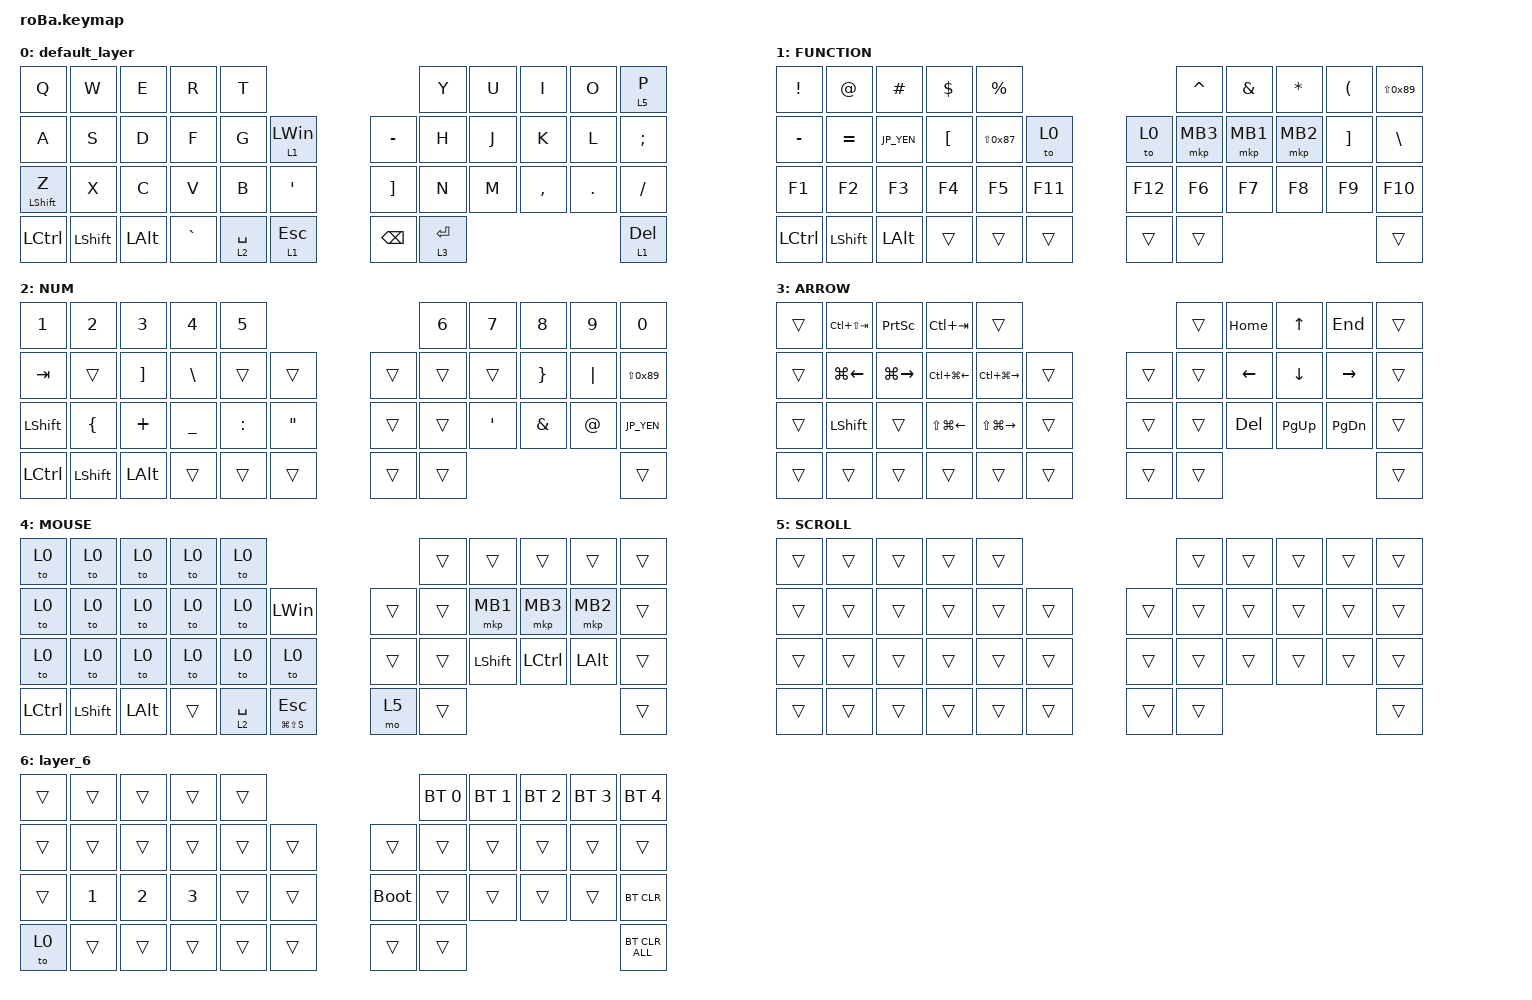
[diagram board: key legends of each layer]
#include <behaviors.dtsi>
#include <dt-bindings/zmk/bt.h>
#include <dt-bindings/zmk/keys.h>
#include <dt-bindings/zmk/pointing.h>

// OS設定を日本語キーボードのまま使用するための変換定義

#define JP_DQUOTE       AT                // "
#define JP_AMPERSAND    CARET             // &
#define JP_QUOTE        AMPERSAND         // '
#define JP_MINUS        MINUS             // -
#define JP_EQUAL        UNDER             // =
#define JP_CARET        EQUAL             // ^
#define JP_YEN          0x89              // ¥
#define JP_PLUS         COLON             // +
#define JP_TILDE        PLUS              // ~
#define JP_PIPE         LS(0x89)          // |
#define JP_AT           LEFT_BRACKET      // @
#define JP_COLON        SINGLE_QUOTE      // :
#define JP_ASTERISK     DOUBLE_QUOTES     // *
#define JP_BACKQUOTE    LEFT_BRACE        // `
#define JP_UNDERSCORE   LS(0x87)          // _
#define JP_LBRACKET     RIGHT_BRACKET     // [
#define JP_RBRACKET     BACKSLASH         // ]
#define JP_LPAREN       ASTERISK          // (
#define JP_RPAREN       LEFT_PARENTHESIS  // )
#define JP_LBRACE       RIGHT_BRACE       // {
#define JP_RBRACE       PIPE              // }
#define JP_HASH         HASH              // #
#define JP_DOLLAR       DOLLAR            // $
#define JP_PERCENT      PERCENT           // %
#define JP_SEMICOLON    SEMICOLON         // ;
#define JP_COMMA        COMMA             // ,
#define JP_DOT          PERIOD            // .
#define JP_SLASH        SLASH             // /
#define JP_ZENHAN       GRAVE             // 全角/半角
#define JP_KANA         LANGUAGE_1        // かな
#define JP_EISU         LANGUAGE_2        // 英数
#define JP_HANZEN       GRAVE             // 半角/全角

&mt {
    flavor = "balanced";
    quick-tap-ms = <0>;
};

&trackball {
    // automouse-layer = <1>;

    scroll-layers = <5>;

    // arrows {
    //     layers = <3>;
    //     bindings =
    //         <&kp RIGHT_ARROW>,
    //         <&kp LEFT_ARROW>,
    //         <&kp UP_ARROW>,
    //         <&kp DOWN_ARROW>;
    //     tick = <10>;
    //     wait-ms = <5>;
    //     tap-ms = <5>;
    // };
};

/ {
    combos {
        compatible = "zmk,combos";

        tab {
            bindings = <&kp TAB>;
            key-positions = <11 10>;
        };

        shift_tab {
            bindings = <&kp LS(TAB)>;
            key-positions = <11 12>;
        };

        minus {
            bindings = <&kp MINUS>;
            key-positions = <8 9>;
        };

        under {
            bindings = <&kp LS(0x87)>;
            key-positions = <33 32>;
        };

        layer_to_6 {
            bindings = <&to 6>;
            key-positions = <41 42>;
        };

        Escape {
            bindings = <&kp ESCAPE>;
            key-positions = <0 1>;
        };

        undo {
            bindings = <&kp LC(Z)>;
            key-positions = <34 22>;
        };

        redo {
            bindings = <&kp LS(LC(Z))>;
            key-positions = <34 22 10>;
        };
    };

    macros {
        to_layer_0: to_layer_0 {
            compatible = "zmk,behavior-macro-one-param";
            #binding-cells = <1>;
            bindings = <&to 0 &macro_param_1to1 &kp MACRO_PLACEHOLDER>;
            label = "TO_LAYER_0";
        };

        scroll_control: scroll_control {
            compatible = "zmk,behavior-macro";
            #binding-cells = <0>;
            wait-ms = <0>;
            tap-ms = <0>;
            bindings
                = <&macro_press &mo 5 &kp LCTRL>
                , <&macro_pause_for_release>
                , <&macro_release &mo 5 &kp LCTRL>;
            label = "SCROLL_CTRL";
        };
    };

    behaviors {
        lt_to_layer_0: lt_to_layer_0 {
            compatible = "zmk,behavior-hold-tap";
            label = "LAYER_TAP_TO_0";
            bindings = <&mo>, <&to_layer_0>;

            #binding-cells = <2>;
            tapping-term-ms = <200>;
        };

        st: scroll_tap {
            compatible = "zmk,behavior-hold-tap";
            label = "SCROLL_TAP";
            bindings = <&mo>, <&kp>;

            #binding-cells = <2>;
            tapping-term-ms = <200>;
            flavor = "balanced";
            hold-while-undecided;
        };

        zp: zoom_tap {
            compatible = "zmk,behavior-hold-tap";
            label = "ZOOM_TAP";
            bindings = <&scroll_control>, <&kp>;

            #binding-cells = <2>;
            tapping-term-ms = <200>;
            flavor = "balanced";
            hold-while-undecided;
        };
    };

    keymap {
        compatible = "zmk,keymap";

        default_layer {
            bindings = <
&kp Q             &kp W           &kp E         &kp R            &kp T                                                                            &kp Y                   &kp U   &kp I         &kp O       &st 5 P
&kp A             &kp S           &kp D         &kp F            &kp G                   &lt 1 LEFT_WIN                        &kp MINUS          &kp H                   &kp J   &kp K         &kp L       &kp JP_SEMICOLON
&mt LEFT_SHIFT Z  &kp X           &kp C         &kp V            &kp B                   &kp JP_COLON                          &kp RIGHT_BRACKET  &kp N                   &kp M   &kp JP_COMMA  &kp JP_DOT  &kp JP_SLASH
&kp LCTRL         &kp LEFT_SHIFT  &kp LEFT_ALT  &kp JP_ZENHAN    &lt_to_layer_0 2 SPACE  &lt 1 ESCAPE                          &kp BACKSPACE      &lt_to_layer_0 3 ENTER                                    &lt_to_layer_0 1 DELETE
            >;
        };


        FUNCTION {
            bindings = <
&kp EXCL          &kp JP_DQUOTE      &kp JP_HASH   &kp JP_DOLLAR  &kp JP_PERCENT                                       &kp JP_AMPERSAND  &kp JP_QUOTE  &kp JP_LPAREN  &kp JP_RPAREN    &kp JP_PIPE
&kp JP_MINUS      &kp JP_CARET       &kp JP_YEN    &kp JP_AT      &kp JP_UNDERSCORE  &to 0                    &to 0    &mkp MB3          &mkp MB1      &mkp MB2       &kp JP_LBRACKET  &kp JP_RBRACKET
&kp F1            &kp F2             &kp F3        &kp F4         &kp F5             &kp F11                  &kp F12  &kp F6            &kp F7        &kp F8         &kp F9           &kp F10
&kp LEFT_CONTROL  &kp LEFT_SHIFT     &kp LEFT_ALT  &trans         &trans             &trans                   &trans   &trans                                                          &trans
            >;
        };


        NUM {
            bindings = <
&kp NUMBER_1    &kp NUMBER_2    &kp NUMBER_3     &kp NUMBER_4     &kp NUMBER_5                                  &kp NUMBER_6  &kp NUMBER_7   &kp NUMBER_8   &kp NUMBER_9   &kp NUMBER_0
&kp TAB         &trans          &kp JP_LBRACKET  &kp JP_RBRACKET  &trans        &trans                  &trans  &trans        &trans         &kp JP_LBRACE  &kp JP_RBRACE  &kp JP_PIPE
&kp LEFT_SHIFT  &kp JP_BACKQUOTE  &kp JP_TILDE   &kp JP_EQUAL     &kp JP_PLUS   &kp JP_ASTERISK         &trans  &trans        &kp JP_COLON   &kp JP_QUOTE   &kp JP_DQUOTE  &kp JP_YEN
&kp LCTRL       &kp LEFT_SHIFT  &kp LEFT_ALT     &trans           &trans        &trans                  &trans  &trans                                                     &trans
            >;
        };


        ARROW {
            bindings = <
&trans  &kp LC(LS(TAB))     &kp PRINTSCREEN  &kp LC(TAB)       &trans                                             &trans  &kp HOME  &kp UP_ARROW    &kp END      &trans
&trans  &kp LG(LEFT_ARROW)  &kp LG(RIGHT)    &kp LC(LG(LEFT))  &kp LC(LG(RIGHT))  &trans                  &trans  &trans  &kp LEFT  &kp DOWN_ARROW  &kp RIGHT    &trans
&trans  &kp LEFT_SHIFT      &trans           &kp LS(LG(LEFT))  &kp LS(LG(RIGHT))  &trans                  &trans  &trans  &kp DEL   &kp PG_UP       &kp PG_DN    &trans
&trans  &trans              &trans           &trans            &trans             &trans                  &trans  &trans                                         &trans
            >;
        };


        MOUSE {
            bindings = <
&to 0   &to 0           &to 0           &to 0            &to 0                             &trans  &trans             &trans             &trans            &trans
&to 0   &to 0           &to 0           &to 0            &to 0   &kp LEFT_WIN      &trans  &trans             &mkp MB1           &mkp MB3          &mkp MB2        &trans
&to 0   &to 0           &to 0           &to 0            &to 0   &to 0             &trans  &trans             &kp LEFT_SHIFT     &kp LEFT_CONTROL  &kp LEFT_ALT    &trans
&kp LCTRL &kp LEFT_SHIFT &kp LEFT_ALT  &trans           &lt_to_layer_0 2 SPACE  &mt LG(LS(S)) ESCAPE  &mo 5   &trans                                               &trans
            >;
        };

        SCROLL {
            bindings = <
&trans  &trans  &trans  &trans  &trans                      &trans  &trans  &trans  &trans  &trans
&trans  &trans  &trans  &trans  &trans  &trans      &trans  &trans  &trans  &trans  &trans  &trans
&trans  &trans  &trans  &trans  &trans  &trans      &trans  &trans  &trans  &trans  &trans  &trans
&trans  &trans  &trans  &trans  &trans  &trans      &trans  &trans                          &trans
            >;
        };

        layer_6 {
            bindings = <
&trans  &trans        &trans        &trans        &trans                           &bt BT_SEL 0  &bt BT_SEL 1  &bt BT_SEL 2  &bt BT_SEL 3  &bt BT_SEL 4
&trans  &trans        &trans        &trans        &trans  &trans      &trans       &trans        &trans        &trans        &trans        &trans
&trans  &kp NUMBER_1  &kp NUMBER_2  &kp NUMBER_3  &trans  &trans      &bootloader  &trans        &trans        &trans        &trans        &bt BT_CLR
&to 0   &trans        &trans        &trans        &trans  &trans      &trans       &trans                                                  &bt BT_CLR_ALL
            >;
        };
    };
};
